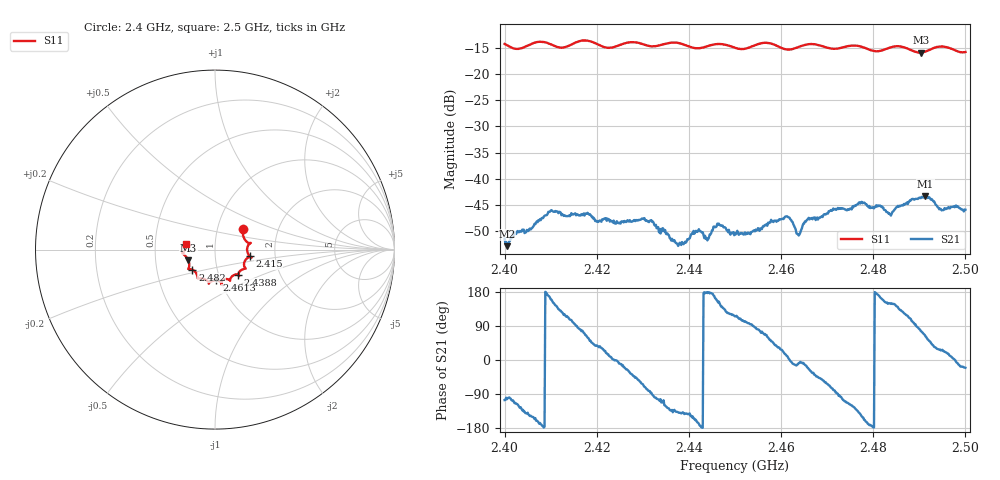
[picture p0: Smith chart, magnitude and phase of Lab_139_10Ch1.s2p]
# Hz S RI R 50
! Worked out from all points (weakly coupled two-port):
!   601 points, 2.4 GHz to 2.5 GHz, reference 50 ohm
!   highest |S21| = -43.32 dB at 2.4913 GHz (marker M1); lowest = -52.8 dB at 2.4005 GHz (marker M2)
!   lowest |S11| = -15.9 dB at 2.4903 GHz (marker M3), VSWR 1.38, Z = 36.8 - j4.45 ohm
!   |S11| at or under -10 dB: start of sweep to end of sweep
!   S12 and S22 are empty: the file has one direction only
!   S11 on the Smith chart (normalised r, x): 2.4 GHz: 1.33, +0.31; 2.415 GHz: 1.47, -0.11; 2.4388 GHz: 1.24, -0.36; 2.4613 GHz: 0.96, -0.34; 2.482 GHz: 0.76, -0.17; 2.5 GHz: 0.72, +0.05
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2.4e9  0.1578 0.1126  -0.000729 -0.00259  0 0  0 0
2.4005e9  0.1565 0.1057  -0.000525 -0.00222  0 0  0 0
2.41e9  0.19 0.031  -0.00468 0.00168  0 0  0 0
2.415e9  0.1927 -0.0363  -0.000579 0.00458  0 0  0 0
2.416667e9  0.2034 -0.0443  0.00111 0.00447  0 0  0 0
2.43e9  0.1596 -0.1088  0.00184 -0.00374  0 0  0 0
2.433333e9  0.1324 -0.1316  -0.000833 -0.00337  0 0  0 0
2.438833e9  0.1298 -0.1408  -0.00183 -0.00153  0 0  0 0
2.441833e9  0.101 -0.1443  -0.00301 -0.000829  0 0  0 0
2.444167e9  0.0849 -0.1647  -0.00266 6.63e-05  0 0  0 0
2.4465e9  0.0841 -0.1745  -0.00337 0.00164  0 0  0 0
2.45e9  0.0686 -0.1646  -0.00128 0.00273  0 0  0 0
2.461333e9  0.00807 -0.1712  0.00433 0.000794  0 0  0 0
2.463833e9  -0.0254 -0.1796  0.00286 -0.000406  0 0  0 0
2.466667e9  -0.0345 -0.1903  0.00354 -0.00233  0 0  0 0
2.477333e9  -0.0971 -0.1553  -0.00491 -0.00336  0 0  0 0
2.482e9  -0.1261 -0.1118  -0.005 0.00186  0 0  0 0
2.483333e9  -0.1398 -0.1088  -0.00404 0.00232  0 0  0 0
2.490333e9  -0.1492 -0.0589  0.00158 0.00636  0 0  0 0
2.491333e9  -0.1579 -0.0442  0.00313 0.00606  0 0  0 0
2.494833e9  -0.1821 -0.02  0.00451 0.0022  0 0  0 0
2.5e9  -0.159 0.0325  0.00477 -0.00178  0 0  0 0
